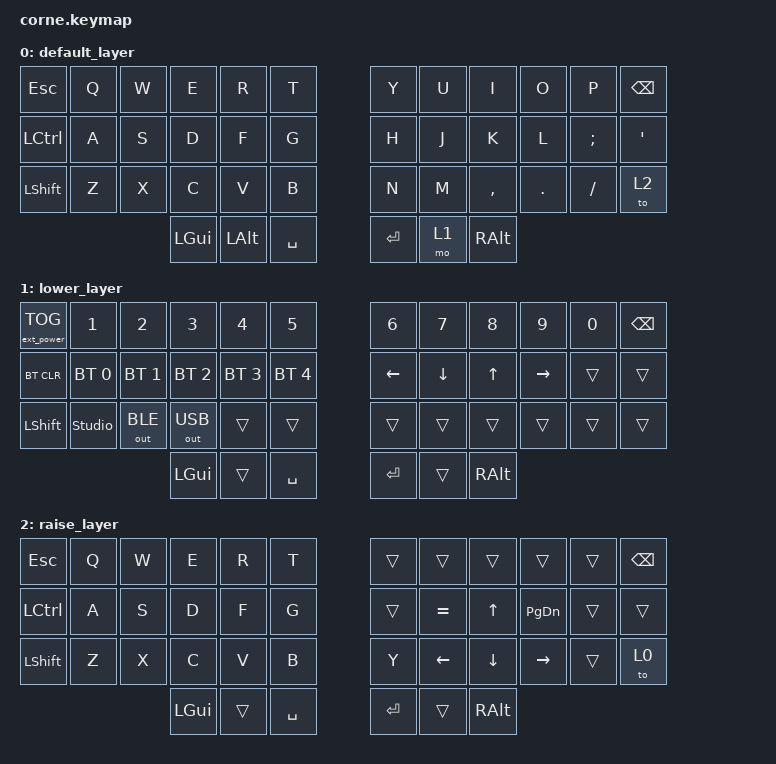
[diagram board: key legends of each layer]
/*
 * Copyright (c) 2020 The ZMK Contributors
 *
 * SPDX-License-Identifier: MIT
 */

#include <behaviors.dtsi>
#include <dt-bindings/zmk/bt.h>
#include <dt-bindings/zmk/keys.h>
#include <dt-bindings/zmk/outputs.h>
#include <dt-bindings/zmk/ext_power.h>

&led_strip {
    //chain-length = <0>;

    chain-length = <27>;

    // 21 backlight + 6 glowlight
};

/ {
    keymap {
        compatible = "zmk,keymap";

        default_layer {
            // -----------------------------------------------------------------------------------------
            // |  TAB |  Q  |  W  |  E  |  R  |  T  |   |  Y  |  U   |  I  |  O  |  P  | BSPC |
            // | CTRL |  A  |  S  |  D  |  F  |  G  |   |  H  |  J   |  K  |  L  |  ;  |  '   |
            // | SHFT |  Z  |  X  |  C  |  V  |  B  |   |  N  |  M   |  ,  |  .  |  /  | ESC  |
            //                    | GUI | LWR | SPC |   | ENT | RSE  | ALT |

            bindings = <
&kp ESC    &kp Q  &kp W  &kp E     &kp R     &kp T        &kp Y    &kp U  &kp I      &kp O    &kp P     &kp BSPC
&kp LCTRL  &kp A  &kp S  &kp D     &kp F     &kp G        &kp H    &kp J  &kp K      &kp L    &kp SEMI  &kp SQT
&kp LSHFT  &kp Z  &kp X  &kp C     &kp V     &kp B        &kp N    &kp M  &kp COMMA  &kp DOT  &kp FSLH  &to 2
                         &kp LGUI  &kp LALT  &kp SPACE    &kp RET  &mo 1  &kp RALT
            >;
        };

        lower_layer {
            // -----------------------------------------------------------------------------------------
            // |  TAB |  1  |  2  |  3  |  4  |  5  |   |  6  |  7  |  8  |  9  |  0  | BSPC |
            // | BTCLR| BT1 | BT2 | BT3 | BT4 | BT5 |   | LFT | DWN |  UP | RGT |     |      |
            // | SHFT |     |     |     |     |     |   |     |     |     |     |     |      |
            //                    | GUI |     | SPC |   | ENT |     | ALT |

            bindings = <
&ext_power EP_TOG   &kp N1          &kp N2        &kp N3        &kp N4        &kp N5          &kp N6    &kp N7    &kp N8    &kp N9     &kp N0  &kp BSPC
&bt BT_CLR  &bt BT_SEL 0    &bt BT_SEL 1  &bt BT_SEL 2  &bt BT_SEL 3  &bt BT_SEL 4    &kp LEFT  &kp DOWN  &kp UP    &kp RIGHT  &trans  &trans
&kp LSHFT   &studio_unlock  &out OUT_BLE  &out OUT_USB  &trans        &trans          &trans    &trans    &trans    &trans     &trans  &trans
                                          &kp LGUI      &trans        &kp SPACE       &kp RET   &trans    &kp RALT
            >;
        };

        raise_layer {
            // -----------------------------------------------------------------------------------------
            // |  TAB |  !  |  @  |  #  |  $  |  %  |   |  ^  |  &  |  *  |  (  |  )  | BSPC |
            // | CTRL |     |     |     |     |     |   |  -  |  =  |  [  |  ]  |  \  |  `   |
            // | SHFT |     |     |     |     |     |   |  _  |  +  |  {  |  }  | "|" |  ~   |
            //                    | GUI |     | SPC |   | ENT |     | ALT |

            bindings = <
&kp ESC    &kp Q  &kp W  &kp E     &kp R   &kp T        &trans   &trans          &trans    &trans     &trans  &kp BSPC
&kp LCTRL  &kp A  &kp S  &kp D     &kp F   &kp G        &trans   &kp EQUAL       &kp UP    &kp PG_DN  &trans  &trans
&kp LSHFT  &kp Z  &kp X  &kp C     &kp V   &kp B        &kp Y    &kp LEFT_ARROW  &kp DOWN  &kp RIGHT  &trans  &to 0
                         &kp LGUI  &trans  &kp SPACE    &kp RET  &trans          &kp RALT
            >;
        };
    };
};
